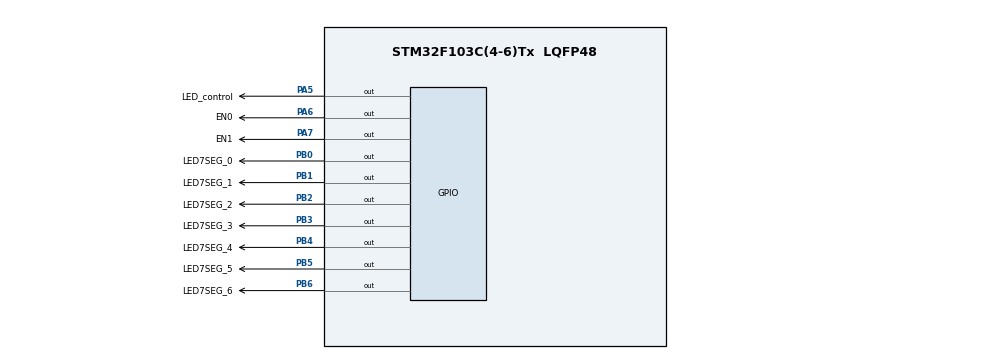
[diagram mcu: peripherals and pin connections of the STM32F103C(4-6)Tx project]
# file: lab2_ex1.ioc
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Mcu.Family=STM32F1
Mcu.Name=STM32F103C(4-6)Tx
Mcu.Package=LQFP48
NVIC.PriorityGroup=NVIC_PRIORITYGROUP_4
NVIC.TIM2_IRQn=true\:0\:0\:false\:false\:true\:true\:true\:true
PA5.GPIO_Label=LED_control
PA5.Signal=GPIO_Output
PA6.GPIO_Label=EN0
PA6.Signal=GPIO_Output
PA7.GPIO_Label=EN1
PA7.Signal=GPIO_Output
PB0.GPIO_Label=LED7SEG_0
PB0.Signal=GPIO_Output
PB1.GPIO_Label=LED7SEG_1
PB1.Signal=GPIO_Output
PB2.GPIO_Label=LED7SEG_2
PB2.Signal=GPIO_Output
PB3.GPIO_Label=LED7SEG_3
PB3.Signal=GPIO_Output
PB4.GPIO_Label=LED7SEG_4
PB4.Signal=GPIO_Output
PB5.GPIO_Label=LED7SEG_5
PB5.Signal=GPIO_Output
PB6.GPIO_Label=LED7SEG_6
PB6.Signal=GPIO_Output
ProjectManager.HeapSize=0x200
ProjectManager.StackSize=0x400
ProjectManager.TargetToolchain=CMake
RCC.APB1Freq_Value=8000000
RCC.APB2Freq_Value=8000000
TIM2.Period=9
TIM2.Prescaler=7999
VP_SYS_VS_ND.Mode=No_Debug
VP_TIM2_VS_ClockSourceINT.Mode=Internal
board=custom

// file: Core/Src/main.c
/* USER CODE BEGIN Header */
/**
  ******************************************************************************
  * @file           : main.c
  * @brief          : Main program body
  ******************************************************************************
  * @attention
  *
  * Copyright (c) 2026 STMicroelectronics.
  * All rights reserved.
  *
  * This software is licensed under terms that can be found in the LICENSE file
  * in the root directory of this software component.
  * If no LICENSE file comes with this software, it is provided AS-IS.
  *
  ******************************************************************************
  */
/* USER CODE END Header */
#include "main.h"

/* USER CODE BEGIN Includes */
#include "control_7_seg.h"
/* USER CODE END Includes */

/* USER CODE BEGIN PD */
uint16_t arr_led7seg_pin[7] = {
  LED7SEG_0_Pin,
  LED7SEG_1_Pin,
  LED7SEG_2_Pin,
  LED7SEG_3_Pin,
  LED7SEG_4_Pin,
  LED7SEG_5_Pin,
  LED7SEG_6_Pin
};
/* USER CODE END PD */

TIM_HandleTypeDef htim2;

void SystemClock_Config(void);
static void MX_GPIO_Init(void);
static void MX_TIM2_Init(void);

int main(void)
{

  /* MCU Configuration--------------------------------------------------------*/

  /* Reset of all peripherals, Initializes the Flash interface and the Systick. */
  HAL_Init();

  /* Configure the system clock */
  SystemClock_Config();

  /* Initialize all configured peripherals */
  MX_GPIO_Init();
  MX_TIM2_Init();
  /* USER CODE BEGIN 2 */
  HAL_TIM_Base_Start_IT(&htim2);
  /* USER CODE END 2 */

  /* Infinite loop */
  while (1)
  {

  }
}

void SystemClock_Config(void)
{
  RCC_OscInitTypeDef RCC_OscInitStruct = {0};
  RCC_ClkInitTypeDef RCC_ClkInitStruct = {0};

  /** Initializes the RCC Oscillators according to the specified parameters
  * in the RCC_OscInitTypeDef structure.
  */
  RCC_OscInitStruct.OscillatorType = RCC_OSCILLATORTYPE_HSI;
  RCC_OscInitStruct.HSIState = RCC_HSI_ON;
  RCC_OscInitStruct.HSICalibrationValue = RCC_HSICALIBRATION_DEFAULT;
  RCC_OscInitStruct.PLL.PLLState = RCC_PLL_NONE;
  if (HAL_RCC_OscConfig(&RCC_OscInitStruct) != HAL_OK)
  {
    Error_Handler();
  }

  /** Initializes the CPU, AHB and APB buses clocks
  */
  RCC_ClkInitStruct.ClockType = RCC_CLOCKTYPE_HCLK|RCC_CLOCKTYPE_SYSCLK
                              |RCC_CLOCKTYPE_PCLK1|RCC_CLOCKTYPE_PCLK2;
  RCC_ClkInitStruct.SYSCLKSource = RCC_SYSCLKSOURCE_HSI;
  RCC_ClkInitStruct.AHBCLKDivider = RCC_SYSCLK_DIV1;
  RCC_ClkInitStruct.APB1CLKDivider = RCC_HCLK_DIV1;
  RCC_ClkInitStruct.APB2CLKDivider = RCC_HCLK_DIV1;

  if (HAL_RCC_ClockConfig(&RCC_ClkInitStruct, FLASH_LATENCY_0) != HAL_OK)
  {
    Error_Handler();
  }
}

static void MX_TIM2_Init(void)
{

  TIM_ClockConfigTypeDef sClockSourceConfig = {0};
  TIM_MasterConfigTypeDef sMasterConfig = {0};

  htim2.Instance = TIM2;
  htim2.Init.Prescaler = 7999;
  htim2.Init.CounterMode = TIM_COUNTERMODE_UP;
  htim2.Init.Period = 9;
  htim2.Init.ClockDivision = TIM_CLOCKDIVISION_DIV1;
  htim2.Init.AutoReloadPreload = TIM_AUTORELOAD_PRELOAD_DISABLE;
  if (HAL_TIM_Base_Init(&htim2) != HAL_OK)
  {
    Error_Handler();
  }
  sClockSourceConfig.ClockSource = TIM_CLOCKSOURCE_INTERNAL;
  if (HAL_TIM_ConfigClockSource(&htim2, &sClockSourceConfig) != HAL_OK)
  {
    Error_Handler();
  }
  sMasterConfig.MasterOutputTrigger = TIM_TRGO_RESET;
  sMasterConfig.MasterSlaveMode = TIM_MASTERSLAVEMODE_DISABLE;
  if (HAL_TIMEx_MasterConfigSynchronization(&htim2, &sMasterConfig) != HAL_OK)
  {
    Error_Handler();
  }

}

static void MX_GPIO_Init(void)
{
  GPIO_InitTypeDef GPIO_InitStruct = {0};

  /* GPIO Ports Clock Enable */
  __HAL_RCC_GPIOA_CLK_ENABLE();
  __HAL_RCC_GPIOB_CLK_ENABLE();

  /*Configure GPIO pin Output Level */
  HAL_GPIO_WritePin(GPIOA, LED_control_Pin|EN0_Pin|EN1_Pin, GPIO_PIN_RESET);

  /*Configure GPIO pin Output Level */
  HAL_GPIO_WritePin(GPIOB, LED7SEG_0_Pin|LED7SEG_1_Pin|LED7SEG_2_Pin|LED7SEG_3_Pin
                          |LED7SEG_4_Pin|LED7SEG_5_Pin|LED7SEG_6_Pin, GPIO_PIN_RESET);

  /*Configure GPIO pins : LED_control_Pin EN0_Pin EN1_Pin */
  GPIO_InitStruct.Pin = LED_control_Pin|EN0_Pin|EN1_Pin;
  GPIO_InitStruct.Mode = GPIO_MODE_OUTPUT_PP;
  GPIO_InitStruct.Pull = GPIO_NOPULL;
  GPIO_InitStruct.Speed = GPIO_SPEED_FREQ_LOW;
  HAL_GPIO_Init(GPIOA, &GPIO_InitStruct);

  /*Configure GPIO pins : LED7SEG_0_Pin LED7SEG_1_Pin LED7SEG_2_Pin LED7SEG_3_Pin
                           LED7SEG_4_Pin LED7SEG_5_Pin LED7SEG_6_Pin */
  GPIO_InitStruct.Pin = LED7SEG_0_Pin|LED7SEG_1_Pin|LED7SEG_2_Pin|LED7SEG_3_Pin
                          |LED7SEG_4_Pin|LED7SEG_5_Pin|LED7SEG_6_Pin;
  GPIO_InitStruct.Mode = GPIO_MODE_OUTPUT_PP;
  GPIO_InitStruct.Pull = GPIO_NOPULL;
  GPIO_InitStruct.Speed = GPIO_SPEED_FREQ_LOW;
  HAL_GPIO_Init(GPIOB, &GPIO_InitStruct);

}

/* USER CODE BEGIN 4 */
void HAL_TIM_PeriodElapsedCallback(TIM_HandleTypeDef *htim){
  static uint8_t counter = 0;
  if(htim->Instance == TIM2){
    switch(counter){
      case 0:
        display7SEG(1, GPIOB, arr_led7seg_pin);
        HAL_GPIO_WritePin(GPIOA, EN1_Pin, GPIO_PIN_RESET);
        HAL_GPIO_WritePin(GPIOA, EN0_Pin, GPIO_PIN_SET);
        HAL_GPIO_TogglePin(GPIOA, LED_control_Pin);
        break;
      case 50:
        display7SEG(2, GPIOB, arr_led7seg_pin);
        HAL_GPIO_WritePin(GPIOA, EN0_Pin, GPIO_PIN_RESET);
        HAL_GPIO_WritePin(GPIOA, EN1_Pin, GPIO_PIN_SET);
        break;
    }
    counter = (counter + 1) % 100;
  }
}
/* USER CODE END 4 */

void Error_Handler(void)
{
  __disable_irq();
  while (1)
  {
  }
}
